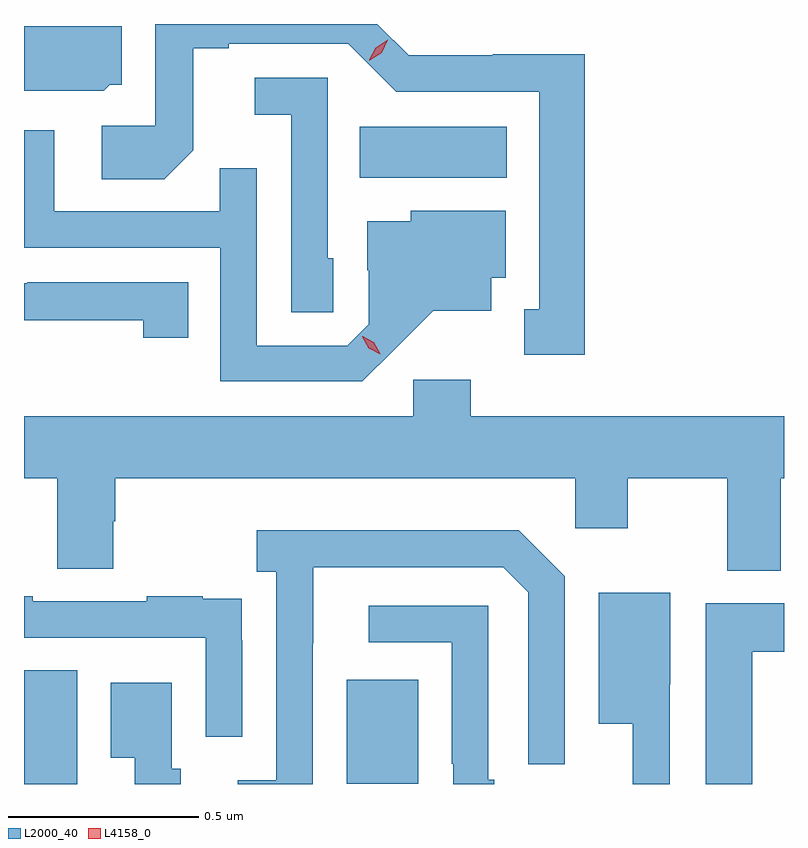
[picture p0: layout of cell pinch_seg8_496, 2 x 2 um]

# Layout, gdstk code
import gdstk
lib = gdstk.Library(unit=1e-6, precision=1e-09)
def R(c, l, rs):  # rectangles x0, y0, x1, y1
    for r in rs: c.add(gdstk.rectangle(r[:2], r[2:], *l))
def P(c, l, *ps):  # polygons
    for p in ps: c.add(gdstk.Polygon(p, *l))
L2000_40 = (2000, 40)
L4158_0 = (4158, 0)

pinch_seg8_496 = lib.new_cell('pinch_seg8_496')
R(pinch_seg8_496, L2000_40, [(214.184,1126.352,214.324,1126.652), (215.033,1126.353,215.221,1126.627), (215.068,1127.948,215.455,1128.082)])
P(pinch_seg8_496, L2000_40, [(215.659,1128.272),(215.418,1128.272),(215.418,1128.27),(215.196,1128.27),(215.114,1128.352),(214.53,1128.352),(214.53,1128.084),(214.389,1128.084),(214.389,1127.944),(214.553,1127.944),(214.629,1128.02),(214.629,1128.288),(214.723,1128.288),(214.723,1128.3),(215.037,1128.3),(215.163,1128.174),(215.54,1128.174),(215.54,1127.601),(215.501,1127.601),(215.501,1127.481),(215.659,1127.481)],
  [(214.41,1128.192),(214.441,1128.192),(214.441,1128.346),(214.184,1128.346),(214.184,1128.177),(214.26,1128.177),(214.26,1128.176),(214.394,1128.176)],
  [(214.998,1127.736),(214.983,1127.736),(214.983,1128.21),(214.791,1128.21),(214.791,1128.113),(214.887,1128.113),(214.887,1127.593),(214.998,1127.593)],
  [(215.158,1127.495),(215.261,1127.597),(215.413,1127.597),(215.413,1127.684),(215.452,1127.684),(215.452,1127.86),(215.202,1127.86),(215.202,1127.833),(215.087,1127.833),(215.087,1127.704),(215.091,1127.704),(215.091,1127.562),(215.034,1127.505),(214.797,1127.505),(214.797,1127.972),(214.699,1127.972),(214.699,1127.859),(214.263,1127.859),(214.263,1128.073),(214.184,1128.073),(214.184,1127.763),(214.701,1127.763),(214.701,1127.412),(215.074,1127.412)],
  [(214.616,1127.673),(214.192,1127.673),(214.192,1127.67),(214.184,1127.67),(214.184,1127.572),(214.498,1127.572),(214.498,1127.526),(214.616,1127.526)],
  [(216.175,1127.156),(216.184,1127.156),(216.184,1127.32),(215.36,1127.32),(215.36,1127.416),(215.208,1127.416),(215.208,1127.32),(214.184,1127.32),(214.184,1127.156),(214.271,1127.156),(214.271,1126.918),(214.419,1126.918),(214.419,1127.043),(214.424,1127.043),(214.424,1127.156),(215.634,1127.156),(215.634,1127.025),(215.773,1127.025),(215.773,1127.156),(216.035,1127.156),(216.035,1126.913),(216.175,1126.913)],
  [(214.944,1126.723),(214.945,1126.723),(214.945,1126.923),(215.445,1126.923),(215.511,1126.857),(215.511,1126.404),(215.607,1126.404),(215.607,1126.899),(215.486,1127.02),(214.797,1127.02),(214.797,1126.91),(214.848,1126.91),(214.848,1126.362),(214.746,1126.362),(214.746,1126.352),(214.944,1126.352)],
  [(215.883,1126.615),(215.884,1126.615),(215.884,1126.855),(215.696,1126.855),(215.696,1126.511),(215.786,1126.511),(215.786,1126.352),(215.883,1126.352)],
  [(214.758,1126.73),(214.757,1126.73),(214.757,1126.839),(214.655,1126.839),(214.655,1126.846),(214.507,1126.846),(214.507,1126.833),(214.207,1126.833),(214.207,1126.846),(214.184,1126.846),(214.184,1126.737),(214.662,1126.737),(214.662,1126.476),(214.758,1126.476)],
  [(216.1,1126.7),(216.184,1126.7),(216.184,1126.828),(215.978,1126.828),(215.978,1126.352),(216.1,1126.352)],
  [(215.421,1126.363),(215.406,1126.363),(215.406,1126.821),(215.091,1126.821),(215.091,1126.725),(215.31,1126.725),(215.31,1126.405),(215.313,1126.405),(215.313,1126.352),(215.421,1126.352)],
  [(214.597,1126.392),(214.573,1126.392),(214.573,1126.618),(214.412,1126.618),(214.412,1126.421),(214.475,1126.421),(214.475,1126.352),(214.597,1126.352)])
P(pinch_seg8_496, L4158_0, [(215.093,1128.257),(215.093,1128.258),(215.11,1128.29),(215.141,1128.31),(215.141,1128.31),(215.141,1128.31),(215.125,1128.277),(215.094,1128.257)],
  [(215.122,1127.483),(215.091,1127.499),(215.074,1127.529),(215.074,1127.53),(215.075,1127.53),(215.105,1127.514),(215.122,1127.484),(215.122,1127.483)])

lib.write_gds('pinch_seg8_496.gds')
